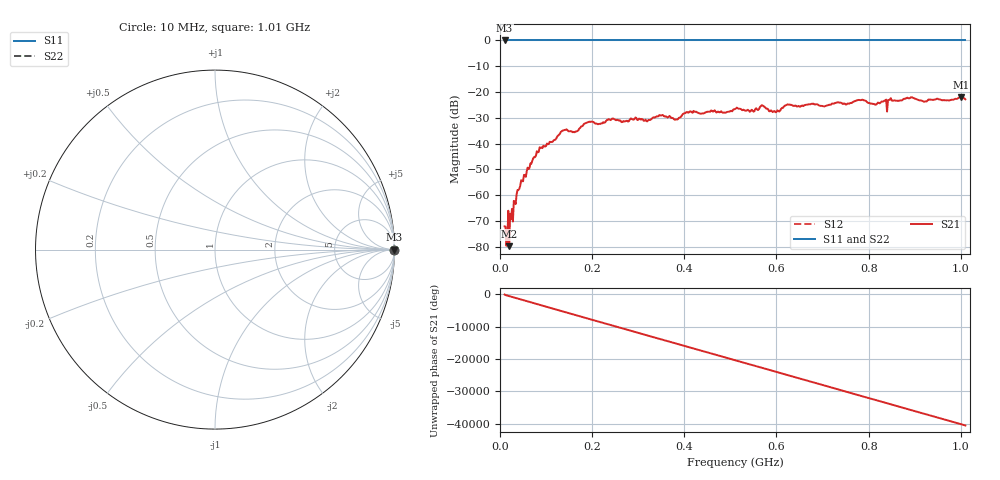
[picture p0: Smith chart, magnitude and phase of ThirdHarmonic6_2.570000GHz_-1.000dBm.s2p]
! 8/17/2025 5:22:34 AM
! C:\ANRITSUVNA\TEMP\TEMP.S2P
! CHANNEL.1
! TR.MEASUREMENT
! RAW.DATA
! RF.CORRECTION.OFF
! AVERAGING.OFF
! IF.BANDWIDTH: 5KHZ
! SWEEPTYPE:  FREQ.SWEEP(Linear)
! Reference Plane Port Info
! PORT:  PORT1  PORT2
! DISTANCE:  0  m  0  m
! TIME:  0  s  0  s
! PHASE.OFFSET:  0  deg.  0  deg.
! LOSS:  0  dB  0  dB
! REF.LOSS:  0  dB  0  dB
! REF.FREQ:  0  Hz  0  Hz
! Power Info
! POWER:  -20  dBm  -20  dBm
! EFF.POWER:  -20  dBm  -20  dBm
! SOURCE.ATTEN:  0  dB  0  dB
! TEST.ATTEN:  0  dB  0  dB
# GHZ S RI R 50.0
! FREQ.GHZ  S11RE  S11IM  S21RE  S21IM  S12RE  S12IM  S22RE  S22IM
!; PortSelection: Port_12
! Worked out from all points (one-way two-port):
!   501 points, 10 MHz to 1.01 GHz, reference 50 ohm
!   highest |S21| = -22.00 dB at 1 GHz (marker M1); lowest = -79.8 dB at 20 MHz (marker M2)
!   lowest |S11| = 0.0 dB at 10 MHz (marker M3)
!   |S11| at or under -10 dB: nowhere
!   |S22| runs from 0.0 to 0.0 dB; largest |S21 - S12| = 1.1
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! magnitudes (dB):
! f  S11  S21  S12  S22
! 10 MHz  0.0  -72.1  0.0  0.0
! 16 MHz  0.0  -76.4  0.0  0.0
! 20 MHz  0.0  -79.8  0.0  0.0
! 24 MHz  0.0  -69.3  0.0  0.0
! 26 MHz  0.0  -65.3  0.0  0.0
! 42 MHz  0.0  -57.5  0.0  0.0
! 84 MHz  0.0  -43.3  0.0  0.0
! 136 MHz  0.0  -35.0  0.0  0.0
! 162 MHz  0.0  -35.6  0.0  0.0
! 178 MHz  0.0  -33.3  0.0  0.0
! 344 MHz  0.0  -29.4  0.0  0.0
! 382 MHz  0.0  -30.6  0.0  0.0
! 410 MHz  0.0  -27.9  0.0  0.0
! 510 MHz  0.0  -26.6  0.0  0.0
! 548 MHz  0.0  -27.1  0.0  0.0
! 570 MHz  0.0  -25.3  0.0  0.0
! 596 MHz  0.0  -27.4  0.0  0.0
! 624 MHz  0.0  -24.8  0.0  0.0
! 678 MHz  0.0  -24.6  0.0  0.0
! 844 MHz  0.0  -23.1  0.0  0.0
! 1 GHz  0.0  -22.0  0.0  0.0
! 1.01 GHz  0.0  -22.8  0.0  0.0
